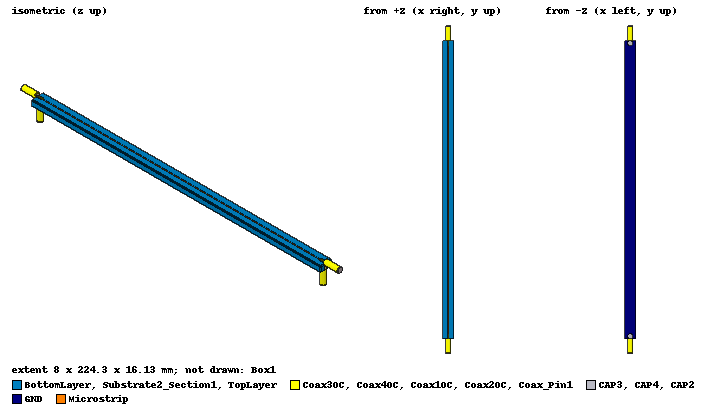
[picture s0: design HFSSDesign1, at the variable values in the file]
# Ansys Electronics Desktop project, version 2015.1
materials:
  vacuum: permittivity=1
  Teflon (tm): permittivity=2.1 dielectric_loss_tangent=0.001
  pec: conductivity=1e+30
  Rogers RT/duroid 5880 (tm): permittivity=2.2 dielectric_loss_tangent=0.0009
  copper: permeability=0.999991 conductivity=58000000

design HFSSDesign1 (HFSS, DrivenModal, model units mm)
options: Allow_Material_Override
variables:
  length = 9.52mm
  radius = (2.5447/2) mm
  pinradius = (.76/2) mm
  topthick = 0.787mm
  linelength = 29mm
  linelength2 = 71mm
  end = 44.3825mm
  linelength3 = 4.8*lambda
  pinlength = length + 3.81mm
  bottomthick = -3.175mm
  bottom = 0 - topthick - pinradius + bottomthick
  lambda = 42.5516mm
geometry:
  Coax1 [Teflon (tm)] = cylinder(axis=Y, base_centre=(0mm, -linelength3/2 - length, 0mm), radius=radius, height=length)
  Coax_Pin1 [pec] = cylinder(axis=Y, base_centre=(0mm, -linelength3/2 - length, 0mm), radius=pinradius, height=pinlength)
  TopLayer [Rogers RT/duroid 5880 (tm)] = box(corner=(-4mm, -linelength3/2, -1*topthick - 1*pinradius), size=(8mm, linelength3, topthick))
  Substrate_Section2 [Rogers RT/duroid 5880 (tm)] = TopLayer.section(plane=YZ)
  Substrate_Section2.thicken(0.5mm, both sides)
  Microstrip [Rogers RT/duroid 5880 (tm)] = object_from(Substrate_Section2.face(at (0, 0, -0.38)))
  Coax2 [Teflon (tm)] = cylinder(axis=Y, base_centre=(0mm, linelength3/2, 0mm), radius=radius, height=length)
  Coax_Pin2 [pec] = cylinder(axis=Y, base_centre=(0mm, linelength3/2 - (pinlength - length), 0mm), radius=pinradius, height=pinlength)
  BottomLayer [Rogers RT/duroid 5880 (tm)] = box(corner=(-4mm, -linelength3/2, bottom), size=(8mm, linelength3, -bottomthick))
  GND [Rogers RT/duroid 5880 (tm)] = object_from(BottomLayer.face(-z))
  Substrate2_Section1 [Rogers RT/duroid 5880 (tm)] = BottomLayer.section(plane=YZ)
  Substrate2_Section1.thicken(6mm, both sides)
  Circle1 = circle(normal=Z, centre=(0, -linelength3/2 + 2, 0 - topthick - pinradius + bottomthick), radius=radius)
  Coax3 [Teflon (tm)] = cylinder(axis=Z, base_centre=(0mm, -linelength3/2 + 2mm, 0 - topthick - pinradius + bottomthick - length), radius=radius, height=length)
  Coax_Pin3 [pec] = cylinder(axis=Z, base_centre=(0mm, -linelength3/2 + 2mm, 0 - pinradius - topthick), radius=pinradius, height=-length + bottomthick)
  Circle2 = circle(normal=Z, centre=(0mm, linelength3/2 - 2, 0 - topthick - pinradius + bottomthick), radius=radius)
  Coax4 [Teflon (tm)] = cylinder(axis=Z, base_centre=(0mm, linelength3/2 -2mm, 0 - topthick - pinradius + bottomthick - length), radius=radius, height=length)
  Coax_Pin4 [pec] = cylinder(axis=Z, base_centre=(0mm, linelength3/2 - 2mm, 0 - pinradius - topthick), radius=pinradius, height=-length + bottomthick)
  BottomMS = rectangle(corner=(-3mm, -linelength3/2 + 0.5mm, 0 - topthick - pinradius), x_size=6mm, y_size=linelength3 - 1mm)
  GND.subtract(Circle1)
  GND.subtract(Circle2)
  Circle3 = circle(normal=Z, centre=(0mm, - linelength3/2 + 2mm, 0 - topthick - pinradius + bottomthick), radius=radius)
  GND.subtract(Circle3)
  Circle4 = circle(normal=Z, centre=(0mm, linelength3/2 - 2mm, 0 - topthick - pinradius + bottomthick), radius=radius)
  GND.subtract(Circle4)
  CuTape1 = rectangle(corner=(-radius/2, -linelength3/2, 0 - pinradius - topthick + bottomthick), z_size=-bottomthick - pinradius, x_size=radius)
  Rectangle2 = rectangle(corner=(-radius/2, -linelength3/2, 0 - pinradius - topthick + bottomthick), x_size=radius, y_size=0.5mm)
  CuTape1.unite(Rectangle2)
  Rectangle1_1 = CuTape1.copy()
  GND.subtract(Rectangle1_1)
  Rectangle3 = rectangle(corner=(-radius/2, linelength3/2, 0 - pinradius - topthick + bottomthick), z_size=-bottomthick - pinradius, x_size=radius)
  CuTape2 = rectangle(corner=(-radius/2, linelength3/2, 0 - topthick - pinradius + bottomthick), x_size=radius, y_size=-0.5mm)
  CuTape2.unite(Rectangle3)
  CuTape2_1 = CuTape2.copy()
  GND.subtract(CuTape2_1)
  Coax1OC [pec] = cylinder(axis=Y, base_centre=(0mm, -linelength3/2, 0mm), radius=radius + 0.5mm, height=-length)
  Coax1_1 = Coax1.copy()
  Coax1OC.subtract(Coax1_1)
  Coax2OC [pec] = cylinder(axis=Y, base_centre=(0mm, linelength3/2, 0mm), radius=radius + 0.5mm, height=length)
  Coax2_1 = Coax2.copy()
  Coax2OC.subtract(Coax2_1)
  Coax3OC [pec] = cylinder(axis=Z, base_centre=(0mm, -linelength3/2 + 2mm, 0 - pinradius - topthick + bottomthick - length), radius=radius + 0.5mm, height=length)
  Coax3_1 = Coax3.copy()
  Coax3OC.subtract(Coax3_1)
  Coax4OC [pec] = cylinder(axis=Z, base_centre=(0mm, linelength3/2 - 2mm, 0 - pinradius - topthick + bottomthick - length), radius=radius + 0.5mm, height=length)
  Circle5 = circle(normal=Y, centre=(0mm, -linelength3/2 - length, 0mm), radius=radius + 0.5mm)
  Circle6 = circle(normal=Y, centre=(0mm, linelength3/2 + length, 0mm), radius=radius + 0.5mm)
  Circle7 = circle(normal=Z, centre=(0mm, -linelength3/2 + 2mm, 0 - pinradius - topthick + bottomthick - length), radius=radius + 0.5mm)
  Circle8 = circle(normal=Z, centre=(0mm, linelength3/2 - 2mm, 0 - pinradius - topthick + bottomthick - length), radius=radius + 0.5mm)
  CAP1 [pec] = cylinder(axis=Y, base_centre=(0mm, -linelength3/2 - length, 0mm), radius=radius + 0.5mm, height=-0.5mm)
  CAP2 [pec] = cylinder(axis=Y, base_centre=(0mm, linelength3/2 + length, 0mm), radius=radius + 0.5mm, height=0.5mm)
  CAP3 [pec] = cylinder(axis=Z, base_centre=(0mm, -linelength3/2 + 2mm, 0 - topthick - pinradius + bottomthick - length), radius=radius + 0.5mm, height=-0.5mm)
  CAP4 [pec] = cylinder(axis=Z, base_centre=(0mm, linelength3/2 - 2mm, 0 - pinradius - topthick + bottomthick - length), radius=radius + 0.5mm, height=-0.5mm)
  Box1 [vacuum] = box(corner=(-4mm - lambda/4, -linelength3/2 - length - 0.5mm - lambda/4, bottom - length - 0.5mm - lambda/4), size=(8mm + lambda/2, linelength3 + 2*length + 1mm + lambda/2, 0.5mm + length - bottom + radius + lambda/2))
  Coax4_1 = Coax4.copy()
  Coax4OC.subtract(Coax4_1)
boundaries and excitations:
  GNDPFE: Perfect E Objects=GND
  PerfE1: Perfect E Objects=BottomMS
  PerfE2: Perfect E Objects=Microstrip
  PerfE3: Perfect E Objects=CuTape1
  PerfE4: Perfect E Objects=CuTape2
  Rad1: Radiation Objects=Box1
  1: Wave Port Objects=Circle5 NumModes=1 Modes{Mode1{IntLine{Circle5.vertex(1 of 1) -> centre of Circle5.face} CharImp=Zpi}}
  2: Wave Port Objects=Circle7 NumModes=1 Modes{Mode1{CharImp=Zpi}}
  3: Wave Port Objects=Circle6 NumModes=1 Modes{Mode1{CharImp=Zpi}}
  4: Wave Port Objects=Circle8 NumModes=1 Modes{Mode1{IntLine{Circle8.vertex(1 of 1) -> centre of Circle8.face} CharImp=Zpi}}
  reference conductors: Coax_Pin2
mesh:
  initial mesh: GlobalSurfApproximation{SurfDevChoice=0 NormalDevChoice=1 AspectRatioChoice=1 SetFacePreservationLevel=0}
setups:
  Setup1: HfssDriven Frequency=4.75GHz MaxDeltaS=0.02 MaximumPasses=10 MinimumPasses=1 MinimumConvergedPasses=1 PercentRefinement=30 BasisOrder=1 PortAccuracy=2
    sweep Sweep: 3GHz to 6.5GHz step 0.1GHz; Type=Interpolating InterpTolerance=0.5 InterpMaxSolns=250 InterpUsePortImped=false PassivityErrorTolerance=0.0001
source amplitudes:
  1:1: 1W 0deg
  2:1, 3:1, 4:1: 0W 0deg
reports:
  Line S-Parameters: dB(S(1,1)), dB(S(2,1)), dB(S(3,3)), dB(S(4,3)), dB(S(3,1)), dB(S(4,2)) vs Freq on Setup1 : Sweep
  XY Plot 1: re(Zo(1)), re(Zo(2)), re(Zo(3)), re(Zo(4)) vs Freq on Setup1 : Sweep
  Data Table 1: rect(S(1,1)), rect(S(1,2)), rect(S(1,3)), rect(S(1,4)), rect(S(2,1)), rect(S(2,2)), rect(S(2,3)), rect(S(2,4)), rect(S(3,1)), rect(S(3,2)), rect(S(3,3)), rect(S(3,4)), rect(S(4,1)), rect(S(4,2)), rect(S(4,3)), rect(S(4,4)) vs Freq on Setup1 : Sweep
  Data Table 2: re(S(1,1)), re(S(1,2)), re(S(1,3)), re(S(1,4)), re(S(2,1)), re(S(2,2)), re(S(2,3)), re(S(2,4)), re(S(3,1)), re(S(3,2)), re(S(3,3)), re(S(3,4)), re(S(4,1)), re(S(4,2)), re(S(4,3)), re(S(4,4)) vs Freq on Setup1 : Sweep
  Data Table 3: im(S(1,1)), im(S(1,2)), im(S(1,3)), im(S(1,4)), im(S(2,1)), im(S(2,2)), im(S(2,3)), im(S(2,4)), im(S(3,1)), im(S(3,2)), im(S(3,3)), im(S(3,4)), im(S(4,1)), im(S(4,2)), im(S(4,3)), im(S(4,4)) vs Freq on Setup1 : Sweep
